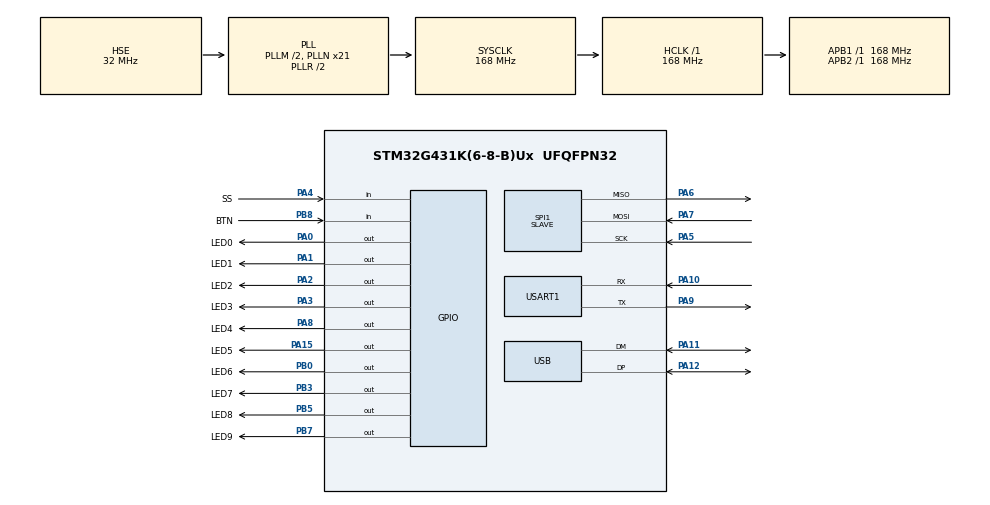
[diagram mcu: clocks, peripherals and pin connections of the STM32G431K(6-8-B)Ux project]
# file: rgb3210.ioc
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Mcu.Family=STM32G4
Mcu.Name=STM32G431K(6-8-B)Ux
Mcu.Package=UFQFPN32
NVIC.PriorityGroup=NVIC_PRIORITYGROUP_4
NVIC.USB_LP_IRQn=true\:0\:0\:false\:false\:true\:false\:true\:true
PA0.GPIO_Label=LED0
PA0.GPIO_ModeDefaultOutputPP=GPIO_MODE_OUTPUT_PP
PA0.GPIO_PuPd=GPIO_NOPULL
PA0.GPIO_Speed=GPIO_SPEED_FREQ_VERY_HIGH
PA0.PinState=GPIO_PIN_RESET
PA0.Signal=GPIO_Output
PA1.GPIO_Label=LED1
PA1.GPIO_ModeDefaultOutputPP=GPIO_MODE_OUTPUT_PP
PA1.GPIO_PuPd=GPIO_NOPULL
PA1.GPIO_Speed=GPIO_SPEED_FREQ_VERY_HIGH
PA1.PinState=GPIO_PIN_RESET
PA1.Signal=GPIO_Output
PA10.Mode=Asynchronous
PA10.Signal=USART1_RX
PA11.Mode=Device
PA11.Signal=USB_DM
PA12.Mode=Device
PA12.Signal=USB_DP
PA13.Mode=Serial_Wire
PA13.Signal=SYS_JTMS-SWDIO
PA14.Mode=Serial_Wire
PA14.Signal=SYS_JTCK-SWCLK
PA15.GPIO_Label=LED5
PA15.GPIO_ModeDefaultOutputPP=GPIO_MODE_OUTPUT_PP
PA15.GPIO_PuPd=GPIO_NOPULL
PA15.GPIO_Speed=GPIO_SPEED_FREQ_VERY_HIGH
PA15.PinState=GPIO_PIN_RESET
PA15.Signal=GPIO_Output
PA2.GPIO_Label=LED2
PA2.GPIO_ModeDefaultOutputPP=GPIO_MODE_OUTPUT_PP
PA2.GPIO_PuPd=GPIO_NOPULL
PA2.GPIO_Speed=GPIO_SPEED_FREQ_VERY_HIGH
PA2.PinState=GPIO_PIN_RESET
PA2.Signal=GPIO_Output
PA3.GPIO_Label=LED3
PA3.GPIO_ModeDefaultOutputPP=GPIO_MODE_OUTPUT_PP
PA3.GPIO_PuPd=GPIO_NOPULL
PA3.GPIO_Speed=GPIO_SPEED_FREQ_VERY_HIGH
PA3.PinState=GPIO_PIN_RESET
PA3.Signal=GPIO_Output
PA4.GPIO_Label=SS
PA4.GPIO_PuPd=GPIO_PULLUP
PA4.Signal=GPIO_Input
PA5.Mode=Full_Duplex_Slave
PA5.Signal=SPI1_SCK
PA6.Mode=Full_Duplex_Slave
PA6.Signal=SPI1_MISO
PA7.Mode=Full_Duplex_Slave
PA7.Signal=SPI1_MOSI
PA8.GPIO_Label=LED4
PA8.GPIO_ModeDefaultOutputPP=GPIO_MODE_OUTPUT_PP
PA8.GPIO_PuPd=GPIO_NOPULL
PA8.GPIO_Speed=GPIO_SPEED_FREQ_VERY_HIGH
PA8.PinState=GPIO_PIN_RESET
PA8.Signal=GPIO_Output
PA9.Mode=Asynchronous
PA9.Signal=USART1_TX
PB0.GPIO_Label=LED6
PB0.GPIO_ModeDefaultOutputPP=GPIO_MODE_OUTPUT_PP
PB0.GPIO_PuPd=GPIO_NOPULL
PB0.GPIO_Speed=GPIO_SPEED_FREQ_VERY_HIGH
PB0.PinState=GPIO_PIN_RESET
PB0.Signal=GPIO_Output
PB3.GPIO_Label=LED7
PB3.GPIO_ModeDefaultOutputPP=GPIO_MODE_OUTPUT_PP
PB3.GPIO_PuPd=GPIO_NOPULL
PB3.GPIO_Speed=GPIO_SPEED_FREQ_VERY_HIGH
PB3.PinState=GPIO_PIN_RESET
PB3.Signal=GPIO_Output
PB5.GPIO_Label=LED8
PB5.GPIO_ModeDefaultOutputPP=GPIO_MODE_OUTPUT_PP
PB5.GPIO_PuPd=GPIO_NOPULL
PB5.GPIO_Speed=GPIO_SPEED_FREQ_VERY_HIGH
PB5.PinState=GPIO_PIN_RESET
PB5.Signal=GPIO_Output
PB7.GPIO_Label=LED9
PB7.GPIO_ModeDefaultOutputPP=GPIO_MODE_OUTPUT_PP
PB7.GPIO_PuPd=GPIO_NOPULL
PB7.GPIO_Speed=GPIO_SPEED_FREQ_VERY_HIGH
PB7.PinState=GPIO_PIN_RESET
PB7.Signal=GPIO_Output
PB8-BOOT0.GPIO_Label=BTN
PB8-BOOT0.Signal=GPIO_Input
PF0-OSC_IN.Mode=HSE-External-Oscillator
PF0-OSC_IN.Signal=RCC_OSC_IN
PF1-OSC_OUT.Mode=HSE-External-Oscillator
PF1-OSC_OUT.Signal=RCC_OSC_OUT
ProjectManager.HeapSize=0x200
ProjectManager.StackSize=0x400
ProjectManager.TargetToolchain=CMake
RCC.ADC12Freq_Value=168000000
RCC.AHBFreq_Value=168000000
RCC.APB1Freq_Value=168000000
RCC.APB1TimFreq_Value=168000000
RCC.APB2Freq_Value=168000000
RCC.APB2TimFreq_Value=168000000
RCC.CK48CLockSelection=RCC_USBCLKSOURCE_HSI48
RCC.CortexFreq_Value=168000000
RCC.EXTERNAL_CLOCK_VALUE=12288000
RCC.HCLKFreq_Value=168000000
RCC.HSE_VALUE=32000000
RCC.HSI48_VALUE=48000000
RCC.HSI_VALUE=16000000
RCC.LSE_VALUE=32768
RCC.PLLM=RCC_PLLM_DIV2
RCC.PLLN=21
RCC.PLLQ=RCC_PLLQ_DIV6
RCC.PLLSourceVirtual=RCC_PLLSOURCE_HSE
RCC.SYSCLKFreq_VALUE=168000000
RCC.SYSCLKSource=RCC_SYSCLKSOURCE_PLLCLK
RCC.USBFreq_Value=48000000
RCC.VCOOutputFreq_Value=336000000
SPI1.DataSize=SPI_DATASIZE_8BIT
SPI1.Direction=SPI_DIRECTION_2LINES
SPI1.Mode=SPI_MODE_SLAVE
SPI1.VirtualType=VM_SLAVE
TIM17.Prescaler=1
USART1.VirtualMode-Asynchronous=VM_ASYNC
USB_DEVICE.CLASS_NAME_FS=CDC
USB_DEVICE.PRODUCT_STRING_CDC_FS=RW.RGB3210.FW1.0
USB_DEVICE.USBD_LPM_ENABLED=0
USB_DEVICE.VirtualMode=Cdc
USB_DEVICE.VirtualModeFS=Cdc_FS
VP_SYS_VS_DBSignals.Mode=DisableDeadBatterySignals
VP_TIM17_VS_ClockSourceINT.Mode=Enable_Timer
VP_USB_DEVICE_VS_USB_DEVICE_CDC_FS.Mode=CDC_FS
board=custom

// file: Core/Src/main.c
/* USER CODE BEGIN Header */
/**
  ******************************************************************************
  * @file           : main.c
  * @brief          : Main program body
  ******************************************************************************
  * @attention
  *
  * Copyright (c) 2026 STMicroelectronics.
  * All rights reserved.
  *
  * This software is licensed under terms that can be found in the LICENSE file
  * in the root directory of this software component.
  * If no LICENSE file comes with this software, it is provided AS-IS.
  *
  ******************************************************************************
  */
/* USER CODE END Header */
#include "main.h"
#include "spi.h"
#include "tim.h"
#include "usart.h"
#include "usb_device.h"
#include "gpio.h"

/* USER CODE BEGIN Includes */
#include <string.h>
#include "stm32g4xx_ll_adc.h"
#include "usbd_cdc_if.h"

/* USER CODE END Includes */

/* USER CODE BEGIN PD */
#define LED_W 32
#define LED_H 10
#define FRAMES 7
#define PROGRAM_STEPS 128
#define FRAME_SIZE (LED_W * LED_H * 3)
#define PIXEL_DATA_SIZE (FRAME_SIZE * FRAMES)
#define PROGRAM_START 0
#define PROGRAM_SIZE PROGRAM_STEPS * 4
#define PIXEL_START PROGRAM_SIZE
#define PIXEL_LINE_SIZE (LED_W * FRAMES * 3)
/* USER CODE END PD */

/* USER CODE BEGIN PV */
union
{
	struct
	{
		struct
		{
			uint8_t command;
			uint8_t param1;
			uint8_t param2;
			uint8_t param3;
		} __attribute__((__packed__)) program[PROGRAM_STEPS];
		uint8_t pixeldata[PIXEL_DATA_SIZE];
	} __attribute__((__packed__)) data;
	uint64_t raw64[(PIXEL_DATA_SIZE + PROGRAM_SIZE) / 8];
	uint8_t raw8[PIXEL_DATA_SIZE + PROGRAM_SIZE];
} data;

uint32_t dataIndex = 0;
uint8_t command = 0;
uint8_t display[LED_W * LED_H * 3];
uint32_t volatile programCounter = 0;
uint8_t volatile waiting = 0;
uint8_t volatile lastSerialByte = 0;
int brightness = 1;
uint32_t volatile thermalScale = 256; // output scale from ThermalCheck, 256 = full brightness
int32_t temperature16 = 25 * 16;      // filtered MCU die temperature, 1/16 degC
/* USER CODE END PV */

void SystemClock_Config(void);

/* USER CODE BEGIN 0 */
void  FlashErase(void)
{
	HAL_FLASH_Unlock();
	FLASH_EraseInitTypeDef eraseInit;
	eraseInit.TypeErase =FLASH_TYPEERASE_PAGES;
	eraseInit.Page = 12;
	eraseInit.Banks = FLASH_BANK_1;
	eraseInit.NbPages = 4;
	uint32_t PageError = 0;
	HAL_FLASHEx_Erase(&eraseInit, &PageError);
	HAL_FLASH_Lock();
}

void FlashWrite(void)
{
	HAL_FLASH_Unlock();
	for (uint32_t i = 0; i < sizeof(data.raw64)/8; i++)
	{
		uint64_t b4 = data.raw64[i];
		HAL_FLASH_Program(FLASH_TYPEPROGRAM_DOUBLEWORD, 0x8006000  + i * 8, b4);
	}
	HAL_FLASH_Lock();
}

void FlashRead(void)
{
	for (uint32_t i = 0; i < sizeof(data.raw64)/8; i++)
	{
		uint64_t b4 = *(uint64_t*)(0x8006000 + i * 8);
		data.raw64[i] = b4;
	}
}

// Bit timing in TIM17 ticks (84 MHz, ~11.9 ns), counted from the rising edge of each bit.
// XL-1010RGBC-WS2812B datasheet minimums: T0H 0.3 us, T1H 0.9 us, T0L 0.9 us, T1L 0.3 us,
// period 1.2 us, low time under 20 us, reset over 200 us
#define T0H_TICKS 30      // ~0.36 us, high time of a 0 bit
#define T1H_TICKS 80      // ~0.95 us, high time of a 1 bit
#define TBIT_TICKS 110    // ~1.31 us, bit period: T0L ~0.95 us, T1L ~0.36 us; mask math may stretch the low phase
#define TRESET_TICKS 25200 // ~300 us

// LED0..LED5 are on GPIOA, LED6..LED9 on GPIOB (see main.h); one register write per port
// keeps edges identical on all rows, so pulse widths no longer depend on row order
#define LEDS_A (LED0_Pin | LED1_Pin | LED2_Pin | LED3_Pin | LED4_Pin | LED5_Pin)
#define LEDS_B (LED6_Pin | LED7_Pin | LED8_Pin | LED9_Pin)

void DisplayUpdate(void)
{
	// Thermal limit is applied on output, so it covers frames, Fill and scrolls alike
	uint32_t scale = thermalScale;
	__disable_irq();
	LL_TIM_EnableCounter(TIM17);
	GPIOA->BRR = LEDS_A;
	GPIOB->BRR = LEDS_B;
	TIM17->CNT = 0; while (TIM17->CNT < TRESET_TICKS) {}
	TIM17->CNT = TBIT_TICKS;

	for (int x = 0; x < 96; x++)
	{
		{
			uint8_t b0 =	 (display[x + 0 * LED_W*3] * scale) >> 8;
			uint8_t b1 =	 (display[x + 1 * LED_W*3] * scale) >> 8;
			uint8_t b2 =	 (display[x + 2 * LED_W*3] * scale) >> 8;
			uint8_t b3 =	 (display[x + 3 * LED_W*3] * scale) >> 8;
			uint8_t b4 =	 (display[x + 4 * LED_W*3] * scale) >> 8;
			uint8_t b5 =	 (display[x + 5 * LED_W*3] * scale) >> 8;
			uint8_t b6 =	 (display[x + 6 * LED_W*3] * scale) >> 8;
			uint8_t b7 =	 (display[x + 7 * LED_W*3] * scale) >> 8;
			uint8_t b8 =	 (display[x + 8 * LED_W*3] * scale) >> 8;
			uint8_t b9 =	 (display[x + 9 * LED_W*3] * scale) >> 8;

			for (uint8_t i = 0;i < 8; i++)
			{
				uint8_t mask = 128 >> i;
				uint32_t zeroA = 0, zeroB = 0;
				if ((b0 & mask) == 0) zeroA |= LED0_Pin;
				if ((b1 & mask) == 0) zeroA |= LED1_Pin;
				if ((b2 & mask) == 0) zeroA |= LED2_Pin;
				if ((b3 & mask) == 0) zeroA |= LED3_Pin;
				if ((b4 & mask) == 0) zeroA |= LED4_Pin;
				if ((b5 & mask) == 0) zeroA |= LED5_Pin;
				if ((b6 & mask) == 0) zeroB |= LED6_Pin;
				if ((b7 & mask) == 0) zeroB |= LED7_Pin;
				if ((b8 & mask) == 0) zeroB |= LED8_Pin;
				if ((b9 & mask) == 0) zeroB |= LED9_Pin;

				while (TIM17->CNT < TBIT_TICKS) {}
				TIM17->CNT = 0;
				GPIOA->BSRR = LEDS_A;
				GPIOB->BSRR = LEDS_B;
				while (TIM17->CNT < T0H_TICKS) {}
				GPIOA->BRR = zeroA;
				GPIOB->BRR = zeroB;
				while (TIM17->CNT < T1H_TICKS) {}
				GPIOA->BRR = LEDS_A;
				GPIOB->BRR = LEDS_B;
			}
		}
	}
	__enable_irq();
}

// Thermal protection by the MCU die sensor, which follows the board with a lag: LEDs are rated
// for -40..+85 degC ambient (XL-1010RGBC-WS2812B datasheet), so limiting starts well below that
#define THERMAL_START_C 55   // full brightness up to here
#define THERMAL_FULL_C 75    // linear down to THERMAL_MIN_SCALE here; also the restart point after cutoff
#define THERMAL_OFF_C 80     // display off from here
#define THERMAL_MIN_SCALE 26 // ~10% of 256
#define THERMAL_PERIOD_MS 1000

static uint16_t AdcRead(uint32_t channel)
{
	LL_ADC_REG_SetSequencerRanks(ADC1, LL_ADC_REG_RANK_1, channel);
	LL_ADC_ClearFlag_EOC(ADC1);
	LL_ADC_REG_StartConversion(ADC1);
	while (!LL_ADC_IsActiveFlag_EOC(ADC1)) {}
	return LL_ADC_REG_ReadConversionData12(ADC1);
}

// Factory calibration is taken at VREF+ = 3.0 V, so the actual VDDA is measured through VREFINT first
static int32_t ReadTemperature(void)
{
	uint32_t vrefint = AdcRead(LL_ADC_CHANNEL_VREFINT);
	uint32_t sensor = AdcRead(LL_ADC_CHANNEL_TEMPSENSOR_ADC1);
	uint32_t vdda = __LL_ADC_CALC_VREFANALOG_VOLTAGE(vrefint, LL_ADC_RESOLUTION_12B);
	return __LL_ADC_CALC_TEMPERATURE(vdda, sensor, LL_ADC_RESOLUTION_12B);
}

// ADC1 set up here with LL instead of CubeMX: internal channels need no pins and the synchronous
// HCLK/4 clock (42 MHz, under the ADC limit) needs no RCC kernel clock selection
void ThermalInit(void)
{
	LL_AHB2_GRP1_EnableClock(LL_AHB2_GRP1_PERIPH_ADC12);
	LL_ADC_SetCommonClock(ADC12_COMMON, LL_ADC_CLOCK_SYNC_PCLK_DIV4);
	LL_ADC_SetCommonPathInternalCh(ADC12_COMMON, LL_ADC_PATH_INTERNAL_VREFINT | LL_ADC_PATH_INTERNAL_TEMPSENSOR);
	LL_ADC_DisableDeepPowerDown(ADC1);
	LL_ADC_EnableInternalRegulator(ADC1);
	LL_mDelay(1); // regulator 20 us, temperature sensor 120 us
	LL_ADC_StartCalibration(ADC1, LL_ADC_SINGLE_ENDED);
	while (LL_ADC_IsCalibrationOnGoing(ADC1)) {}
	LL_mDelay(1); // a few ADC cycles between calibration and enable
	// 640.5 cycles at 42 MHz ~ 15 us, above the sensor and VREFINT minimum sampling times
	LL_ADC_SetChannelSamplingTime(ADC1, LL_ADC_CHANNEL_TEMPSENSOR_ADC1, LL_ADC_SAMPLINGTIME_640CYCLES_5);
	LL_ADC_SetChannelSamplingTime(ADC1, LL_ADC_CHANNEL_VREFINT, LL_ADC_SAMPLINGTIME_640CYCLES_5);
	LL_ADC_ClearFlag_ADRDY(ADC1);
	LL_ADC_Enable(ADC1);
	while (!LL_ADC_IsActiveFlag_ADRDY(ADC1)) {}
	int32_t t = ReadTemperature();
	if (t != LL_ADC_TEMPERATURE_CALC_ERROR) temperature16 = t * 16;
}

// Called from the main loop and from long waits inside program steps, so it also runs while a program
// is stopped or waiting; when the limit changes the last frame is redrawn with it
void ThermalCheck(void)
{
	static uint32_t lastTick = 0;
	if (HAL_GetTick() - lastTick < THERMAL_PERIOD_MS) return;
	lastTick = HAL_GetTick();
	int32_t t = ReadTemperature();
	if (t == LL_ADC_TEMPERATURE_CALC_ERROR) return;
	temperature16 += (t * 16 - temperature16) / 4; // ~4 s time constant against ADC noise

	uint32_t scale;
	if (temperature16 >= THERMAL_OFF_C * 16 || (thermalScale == 0 && temperature16 > THERMAL_FULL_C * 16))
		scale = 0;
	else if (temperature16 <= THERMAL_START_C * 16)
		scale = 256;
	else if (temperature16 >= THERMAL_FULL_C * 16)
		scale = THERMAL_MIN_SCALE;
	else
		scale = 256 - (256 - THERMAL_MIN_SCALE) * (temperature16 - THERMAL_START_C * 16)
			/ ((THERMAL_FULL_C - THERMAL_START_C) * 16);
	if (scale != thermalScale)
	{
		thermalScale = scale;
		DisplayUpdate();
	}
}

static char* AppendInt(char* p, int32_t value)
{
	char digits[11];
	int n = 0;
	if (value < 0) { *p++ = '-'; value = -value; }
	do { digits[n++] = '0' + value % 10; value /= 10; } while (value);
	while (n) *p++ = digits[--n];
	return p;
}

// Reply to 170,130: "temp=<degC> limit=<percent>\n"; the buffer must outlive the USB transfer
void ReportStatus(void)
{
	static char reply[32];
	char* p = reply;
	memcpy(p, "temp=", 5); p += 5;
	p = AppendInt(p, temperature16 / 16);
	memcpy(p, " limit=", 7); p += 7;
	p = AppendInt(p, thermalScale * 100 / 256);
	*p++ = '\n';
	CDC_Transmit_FS((uint8_t*)reply, p - reply);
}

void DisplaySet(int x, int y, uint8_t r, uint8_t g, uint8_t b)
{
	if (x < 0 || x >= 32 || y < 0 || y >= 10) return;
	int index = (y * 96 + x * 3);
	display[index] = g;
	display[index + 1] = r;
	display[index + 2] = b;
}

void DisplayClear(uint8_t r )
{
	for (int i = 0; i < 32 * 10 * 3; i ++)
	{
		display[i] = r;
	}
}

void DisplayFill(uint8_t r, uint8_t g, uint8_t b)
{
	for (int i = 0; i < 32 * 10 * 3; i += 3)
	{
		display[i + 0] = g;
		display[i + 1] = r;
		display[i + 2] = b;
	}
}

void ProcessSerialData(uint8_t* buf, uint32_t length)
{
	for (uint32_t i = 0; i < length; i++)
	{
		uint8_t byte = buf[i];
		if (lastSerialByte == 170)
		{
			switch (byte)
			{
			case 0:
				if (dataIndex < sizeof(data.raw8))
				{
					data.raw8[dataIndex++] = 170;
				}
				break;
			case 16:
				dataIndex = 0;
				break;
			case 17:dataIndex = PIXEL_START;break;
			case 18:dataIndex = PIXEL_START + PIXEL_LINE_SIZE * 1;break;
			case 19:dataIndex = PIXEL_START + PIXEL_LINE_SIZE * 2;break;
			case 20:dataIndex = PIXEL_START + PIXEL_LINE_SIZE * 3;break;
			case 21:dataIndex = PIXEL_START + PIXEL_LINE_SIZE * 4;break;
			case 22:dataIndex = PIXEL_START + PIXEL_LINE_SIZE * 5;break;
			case 23:dataIndex = PIXEL_START + PIXEL_LINE_SIZE * 6;break;
			case 24:dataIndex = PIXEL_START + PIXEL_LINE_SIZE * 7;break;
			case 25:dataIndex = PIXEL_START + PIXEL_LINE_SIZE * 8;break;
			case 26:dataIndex = PIXEL_START + PIXEL_LINE_SIZE * 9;break;

			case 64:
				programCounter = 0;
				waiting = 0;
				break;
			case 65:
				programCounter = 10000;
				waiting	= 0;
				break;
			case 66:
				waiting = 0;
				break;
			case 128:
			case 129:
			case 130:
				command = byte;
				break;
			}
		}
		else
		{
			if (dataIndex < sizeof(data.raw8))
			{
				data.raw8[dataIndex++] = byte;
			}
		}
		lastSerialByte = byte;
	}
}

void ProcessCommand(void)
{
	if (command == 128)
	{
		DisplayClear(0);
		DisplayUpdate();
	}
	if (command == 129)
	{
		FlashErase();
		FlashWrite();
	}
	if (command == 130)
	{
		ReportStatus();
	}
	command = 0;
}

void CopyPixelData(int offset)
{
	for (int x = 0; x < LED_W * 3; x++)
	{
		for (int y = 0; y < LED_H; y++)
		{
			display[y * LED_W * 3 + x] = data.data.pixeldata[offset + x + PIXEL_LINE_SIZE * y] * brightness/100;
		}
	}
}

void WaitForButton(void)
{
	waiting = 1;
	while (LL_GPIO_IsInputPinSet(BTN_GPIO_Port, BTN_Pin) == 0 &&
		   LL_GPIO_IsInputPinSet(SS_GPIO_Port, SS_Pin)	 == 1 && waiting == 1) { ThermalCheck(); }
	LL_mDelay(50);
	while ((LL_GPIO_IsInputPinSet(BTN_GPIO_Port, BTN_Pin) == 1 ||
		   LL_GPIO_IsInputPinSet(SS_GPIO_Port, SS_Pin)	 == 0) && waiting == 1) { ThermalCheck(); }
	LL_mDelay(50);
	waiting = 0;
}

void ProcessProgram(void)
{
	if (programCounter < 128)
	{
		uint8_t cmd = data.data.program[programCounter].command;
		uint8_t p1 = data.data.program[programCounter].param1;
		uint8_t p2 = data.data.program[programCounter].param2;
		uint8_t p3 = data.data.program[programCounter].param3;
		programCounter++;
		switch (cmd)
		{
		case 0:
		case 255:
			// NOP
			break;
		case 1:
			//brightness
			brightness = p1;
			break;
		case 8:
			DisplayClear(0);
			DisplayUpdate();
			break;
		case 9:
			//fill
			DisplayFill(p1, p2, p3);
			DisplayUpdate();
			break;
		case 16:
			//start from frame p1
			CopyPixelData(p1 * LED_W*3);
			DisplayUpdate();
			break;
		case 17:
			//start from x = p1
			CopyPixelData(p1*3);
			DisplayUpdate();
			break;
		case 128:
			//scrollleft
			for (int offset = LED_W * 3*p1; offset<LED_W*3*(p2); offset+=3)
			{
				CopyPixelData(offset);
				DisplayUpdate();
				LL_mDelay(p3);
				ThermalCheck();
			}
			break;
		case 129:
			//scrollright
			for (int offset = LED_W * 3*p2; offset > LED_W * 3*(p1); offset -= 3)
			{
				CopyPixelData(offset);
				DisplayUpdate();
				LL_mDelay(p3);
				ThermalCheck();
			}
			break;
		case 64:
			//wait button
			WaitForButton();
			break;
		case 65:
			//wait p1 ms
			waiting = 1;
			LL_mDelay(p1);
			waiting = 0;
			break;
		case 66:
			//wait p1 seconds
			waiting = 1;
			for (int i = 0; (i < p1*10) && waiting == 1; i++)
			{
				LL_mDelay(100);
				ThermalCheck();
			}
			waiting = 0;
			break;
		case 254:
			//restart
			programCounter = 0;
			break;
		}
	}
}

/* USER CODE END 0 */

int main(void)
{

  /* MCU Configuration--------------------------------------------------------*/

  /* Reset of all peripherals, Initializes the Flash interface and the Systick. */
  HAL_Init();

  /* Configure the system clock */
  SystemClock_Config();

  /* Initialize all configured peripherals */
  MX_GPIO_Init();
  MX_USB_Device_Init();
  MX_TIM17_Init();
  MX_SPI1_Init();
  MX_USART1_UART_Init();
  /* USER CODE BEGIN 2 */
  DisplayClear(0);
  DisplayUpdate();
  FlashRead();
  ThermalInit();
  /* USER CODE END 2 */

  /* Infinite loop */
  while (1)
  {

    /* USER CODE BEGIN 3 */
	  ProcessProgram();
	  ProcessCommand();
	  ThermalCheck();
  }
  /* USER CODE END 3 */
}

void SystemClock_Config(void)
{
  RCC_OscInitTypeDef RCC_OscInitStruct = {0};
  RCC_ClkInitTypeDef RCC_ClkInitStruct = {0};

  /** Configure the main internal regulator output voltage
  */
  HAL_PWREx_ControlVoltageScaling(PWR_REGULATOR_VOLTAGE_SCALE1_BOOST);

  /** Initializes the RCC Oscillators according to the specified parameters
  * in the RCC_OscInitTypeDef structure.
  */
  RCC_OscInitStruct.OscillatorType = RCC_OSCILLATORTYPE_HSI48|RCC_OSCILLATORTYPE_HSE;
  RCC_OscInitStruct.HSEState = RCC_HSE_ON;
  RCC_OscInitStruct.HSI48State = RCC_HSI48_ON;
  RCC_OscInitStruct.PLL.PLLState = RCC_PLL_ON;
  RCC_OscInitStruct.PLL.PLLSource = RCC_PLLSOURCE_HSE;
  RCC_OscInitStruct.PLL.PLLM = RCC_PLLM_DIV2;
  RCC_OscInitStruct.PLL.PLLN = 21;
  RCC_OscInitStruct.PLL.PLLP = RCC_PLLP_DIV2;
  RCC_OscInitStruct.PLL.PLLQ = RCC_PLLQ_DIV6;
  RCC_OscInitStruct.PLL.PLLR = RCC_PLLR_DIV2;
  if (HAL_RCC_OscConfig(&RCC_OscInitStruct) != HAL_OK)
  {
    Error_Handler();
  }

  /** Initializes the CPU, AHB and APB buses clocks
  */
  RCC_ClkInitStruct.ClockType = RCC_CLOCKTYPE_HCLK|RCC_CLOCKTYPE_SYSCLK
                              |RCC_CLOCKTYPE_PCLK1|RCC_CLOCKTYPE_PCLK2;
  RCC_ClkInitStruct.SYSCLKSource = RCC_SYSCLKSOURCE_PLLCLK;
  RCC_ClkInitStruct.AHBCLKDivider = RCC_SYSCLK_DIV1;
  RCC_ClkInitStruct.APB1CLKDivider = RCC_HCLK_DIV1;
  RCC_ClkInitStruct.APB2CLKDivider = RCC_HCLK_DIV1;

  if (HAL_RCC_ClockConfig(&RCC_ClkInitStruct, FLASH_LATENCY_4) != HAL_OK)
  {
    Error_Handler();
  }
}

void Error_Handler(void)
{
  __disable_irq();
  while (1)
  {
  }
}
